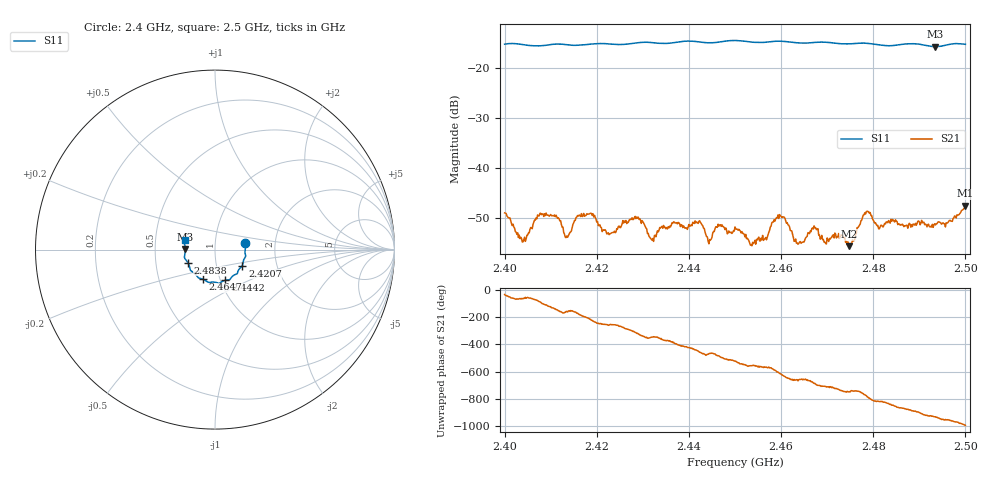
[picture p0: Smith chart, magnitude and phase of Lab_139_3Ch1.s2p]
# Hz S RI R 50
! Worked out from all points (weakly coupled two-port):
!   601 points, 2.4 GHz to 2.5 GHz, reference 50 ohm
!   highest |S21| = -47.59 dB at 2.5 GHz (marker M1); lowest = -55.7 dB at 2.4747 GHz (marker M2)
!   lowest |S11| = -15.7 dB at 2.4935 GHz (marker M3), VSWR 1.39, Z = 35.9 + j0.123 ohm
!   |S11| at or under -10 dB: start of sweep to end of sweep
!   S12 and S22 are empty: the file has one direction only
!   S11 on the Smith chart (normalised r, x): 2.4 GHz: 1.40, +0.11; 2.4207 GHz: 1.33, -0.24; 2.4442 GHz: 1.06, -0.37; 2.4647 GHz: 0.83, -0.28; 2.4838 GHz: 0.73, -0.11; 2.5 GHz: 0.71, +0.08
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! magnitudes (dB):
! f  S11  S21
! 2.4 GHz  -15.2  -49.0
! 2.4042 GHz  -15.3  -54.4
! 2.4077 GHz  -15.5  -49.1
! 2.4135 GHz  -15.3  -53.7
! 2.4167 GHz  -15.3  -49.2
! 2.4207 GHz  -15.1  -51.4
! 2.4287 GHz  -14.9  -49.9
! 2.4318 GHz  -14.9  -54.3
! 2.4333 GHz  -15.0  -52.9
! 2.4418 GHz  -14.7  -51.0
! 2.4442 GHz  -14.9  -54.8
! 2.45 GHz  -14.4  -51.9
! 2.4537 GHz  -14.8  -55.6
! 2.4602 GHz  -14.6  -50.0
! 2.4647 GHz  -15.0  -54.9
! 2.4667 GHz  -14.9  -52.2
! 2.4747 GHz  -15.1  -55.7
! 2.4785 GHz  -15.0  -48.8
! 2.4833 GHz  -15.5  -50.6
! 2.4838 GHz  -15.5  -50.3
! 2.4935 GHz  -15.7  -51.5
! 2.5 GHz  -15.2  -47.6
